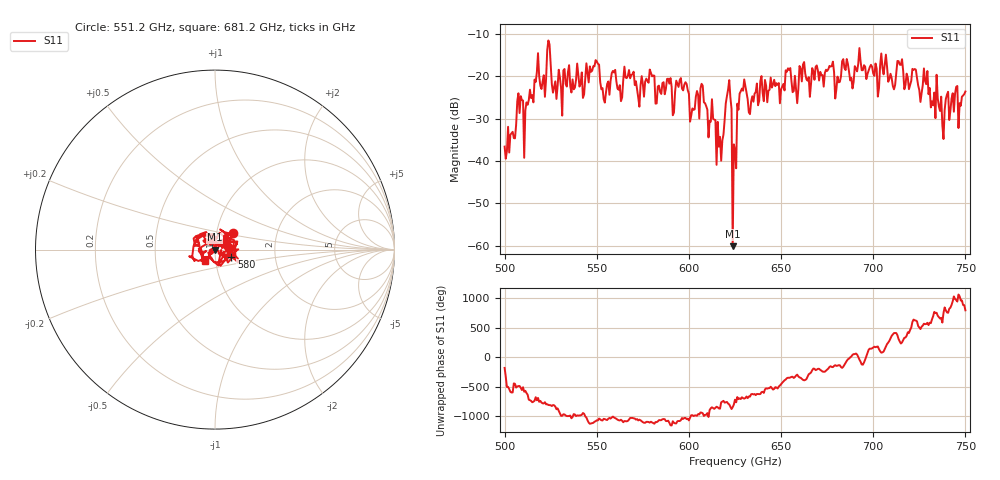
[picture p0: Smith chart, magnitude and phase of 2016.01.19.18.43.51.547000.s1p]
!Created with skrf (http://scikit-rf.org).
# GHz S RI R 50.0
!freq ReS11 ImS11
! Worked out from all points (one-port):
!   401 points, 500 GHz to 750 GHz, reference 50 ohm
!   lowest |S11| = -60.1 dB at 623.8 GHz (marker M1), VSWR 1.00, Z = 49.9 - j0.0822 ohm
!   |S11| at or under -10 dB: start of sweep to end of sweep
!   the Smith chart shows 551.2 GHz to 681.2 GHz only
!   S11 on the Smith chart (normalised r, x): 551.2 GHz: 1.20, +0.23; 580 GHz: 1.20, -0.10; 681.2 GHz: 0.88, -0.11
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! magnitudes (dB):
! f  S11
! 500 GHz  -36.6
! 508.1 GHz  -28.7
! 511.9 GHz  -26.2
! 517.5 GHz  -19.0
! 521.2 GHz  -19.7
! 523.8 GHz  -11.5
! 526.9 GHz  -22.5
! 531.2 GHz  -29.3
! 551.2 GHz  -17.2
! 562.5 GHz  -22.1
! 580 GHz  -20.0
! 593.8 GHz  -21.8
! 601.9 GHz  -27.6
! 607.5 GHz  -22.2
! 616.2 GHz  -36.6
! 621.9 GHz  -20.9
! 623.8 GHz  -60.1
! 625 GHz  -37.4
! 628.8 GHz  -22.9
! 656.2 GHz  -23.7
! 681.2 GHz  -21.4
! 687.5 GHz  -21.0
! 711.2 GHz  -23.1
! 714.4 GHz  -17.2
! 718.8 GHz  -20.3
! 728.1 GHz  -21.1
! 737.5 GHz  -31.5
! 750 GHz  -23.6
